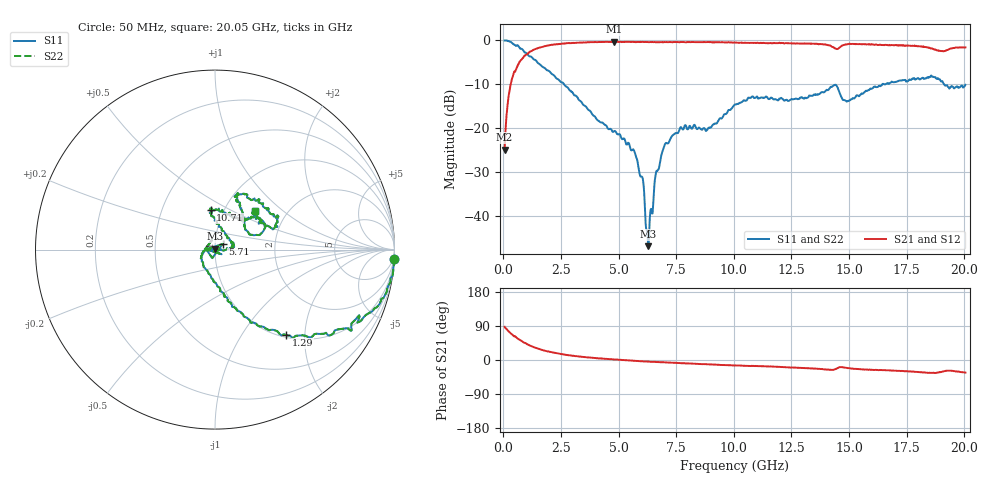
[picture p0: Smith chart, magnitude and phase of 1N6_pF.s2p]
! P/N: 500R07S1R6BV4
! Measured by Marlon
! Oct. 28, 2003
#	mhz	s	ma	r	50
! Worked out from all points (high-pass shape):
!   1001 points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, 50 MHz to 20.05 GHz, reference 50 ohm
!   highest |S21| = -0.28 dB at 4.79 GHz (marker M1); lowest = -24.9 dB at 50 MHz (marker M2)
!   |S21| within 3 dB of the highest: 971.8 MHz to end of sweep
!   lowest |S11| = -46.9 dB at 6.29 GHz (marker M3), VSWR 1.01, Z = 50 + j0.45 ohm
!   |S11| at or under -10 dB: 2.628 GHz to 16.44 GHz (13.81 GHz wide, 145 % of centre); 16.52509 GHz to 16.575 GHz (49.91 MHz wide, 0.302 % of centre); 19.12 GHz to end of sweep
!   |S22| runs from -46.9 to 0.0 dB; largest |S21 - S12| = 0
!   S11 on the Smith chart (normalised r, x): 50 MHz: 0, -39; 1.29 GHz: 1.04, -1.60; 5.71 GHz: 1.09, +0.07; 10.71 GHz: 0.87, +0.40; 20.05 GHz: 1.39, +0.67
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50  0.9999 -2.9  0.05708 87.6  0.05708 87.6  0.9999 -2.9
230  0.9852 -13.8  0.2377 75.6  0.2377 75.6  0.9852 -13.8
390  0.9278 -22.4  0.3791 66.4  0.3791 66.4  0.9278 -22.4
1290  0.6176 -50.3  0.7774 34.4  0.7774 34.4  0.6176 -50.3
3390  0.1979 -86.7  0.9461 8.7  0.9461 8.7  0.1979 -86.7
4790  0.09172 -147.6  0.9679 1.6  0.9679 1.6  0.09172 -147.6
5710  0.05184 36.0  0.9611 -2.3  0.9611 -2.3  0.05184 36.0
6030  0.02753 163.5  0.9637 -3.2  0.9637 -3.2  0.02753 163.5
6210  0.00695 138.2  0.9595 -4.0  0.9595 -4.0  0.00695 138.2
6290  0.00452 83.7  0.9581 -4.3  0.9581 -4.3  0.00452 83.7
6730  0.03404 0.8  0.9557 -5.4  0.9557 -5.4  0.03404 0.8
6970  0.06131 -0.8  0.9565 -6.1  0.9565 -6.1  0.06131 -0.8
7390  0.0847 5.8  0.9597 -7.4  0.9597 -7.4  0.0847 5.8
8870  0.09838 45.4  0.9573 -11.6  0.9573 -11.6  0.09838 45.4
10050  0.1862 94.4  0.9499 -14.0  0.9499 -14.0  0.1862 94.4
10710  0.2222 96.3  0.9386 -15.4  0.9386 -15.4  0.2222 96.3
13390  0.2342 45.6  0.9178 -22.3  0.9178 -22.3  0.2342 45.6
14370  0.3107 30.7  0.8167 -25.3  0.8167 -25.3  0.3107 30.7
14670  0.2258 21.2  0.8674 -18.8  0.8674 -18.8  0.2258 21.2
16730  0.3205 69.4  0.8859 -27.1  0.8859 -27.1  0.3205 69.4
18650  0.386 26.6  0.7988 -33.5  0.7988 -33.5  0.386 26.6
20050  0.3121 44.1  0.8334 -33.3  0.8334 -33.3  0.3121 44.1
